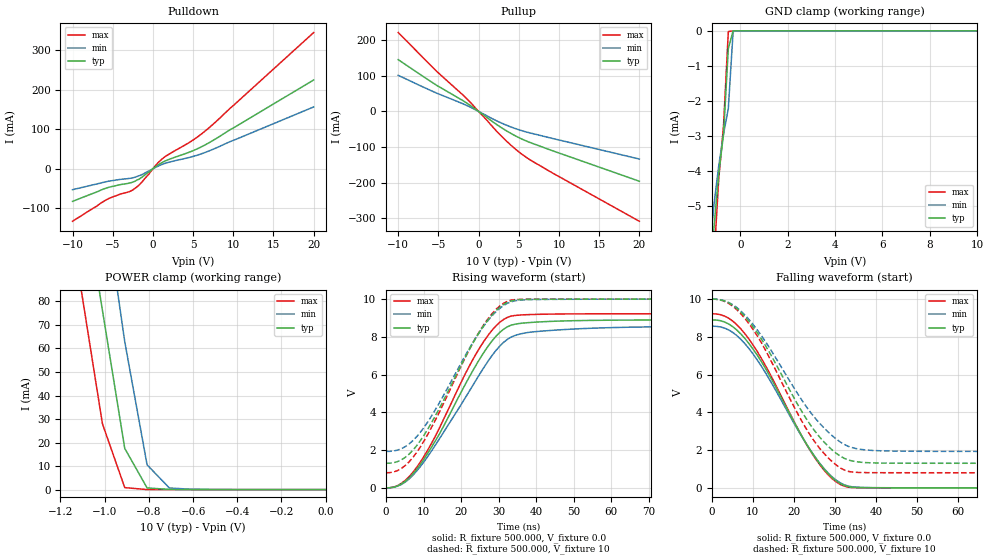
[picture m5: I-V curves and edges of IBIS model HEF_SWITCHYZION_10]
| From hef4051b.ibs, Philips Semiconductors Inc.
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|   Model HEF_SWITCHYZION_10
[Model]   HEF_SWITCHYZION_10
Model_type   I/O
Polarity   Non-Inverting
Enable   Active-High
Vinl  =  7V
Vinh  =  3V
Vmeas =  5V
Cref  =  50.0pF
Rref  =  10k
Vref  =  0.0V
C_comp   19.4E-12   17.7E-12   21.6E-12
|Ambient temperature:   25   85   -40
[Temperature Range]   35   95   -30
[Voltage Range]   10V   10V   10V
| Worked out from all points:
|   slope of the pulldown table from 0 to 1.5 V, typ, clamps not added: 77.5 ohm
|   slope of the pullup table from 0 to 1.5 V, typ, clamps not added: 60.9 ohm
|   GND clamp passes 1 mA (typ) near -0.55 V on its own axis
|   POWER clamp passes 1 mA (typ) near -0.81 V on its own axis
|   rising waveform, R_fixture 500.000, V_fixture 0.0: 20-80 % time 15ns typ, 16.4ns min, 14.2ns max; typ from 0 V to 8.9 V
|   rising waveform, R_fixture 500.000, V_fixture 10: 20-80 % time 14ns typ, 14.1ns min, 13.9ns max; typ from 1.3 V to 10 V
|   falling waveform, R_fixture 500.000, V_fixture 0.0: 20-80 % time 13.9ns typ, 14.1ns min, 13.7ns max; typ from 8.9 V to 0 V
|   falling waveform, R_fixture 500.000, V_fixture 10: 20-80 % time 14.1ns typ, 14.8ns min, 13.7ns max; typ from 10 V to 1.3 V
|Process Range   nominal   slow   fast
[Pulldown]
| voltage   I(typ)   I(min)   I(max)
-10V      -82.38mA   -52.84mA   -132.6mA
-6V       -50.11mA   -33.44mA   -80.66mA
-4.25V    -40.87mA   -27.37mA   -65.37mA
-2.75V    -35.29mA   -23.79mA   -56.09mA
-1.812V   -27.03mA   -18.11mA   -43.01mA
-500mV    -8.424mA   -5.55mA    -13.35mA
437.5mV   6.744mA    4.654mA    10.73mA
1V        14.07mA    9.777mA    22.15mA
1.75V     21.57mA    15.1mA     33.61mA
4.937V    45.15mA    30.76mA    71.68mA
6.625V    61.65mA    42.18mA    97.32mA
20V       224.2mA    156.1mA    343.9mA
[Pullup]
| voltage   I(typ)   I(min)   I(max)
-10V      145.5mA    101.5mA    221.7mA
-5.2V     73.17mA    51.33mA    112.4mA
-1.6V     25.42mA    18.13mA    38.69mA
2.667V    -42.99mA   -30.77mA   -65.35mA
5V        -73.35mA   -51.33mA   -113.4mA
6.333V    -86.61mA   -59.97mA   -134.9mA
8.833V    -107.4mA   -73.87mA   -168.2mA
20V       -196.1mA   -133.7mA   -308.7mA
[GND Clamp]
| voltage   I(typ)   I(min)   I(max)
-10V      -7.925A    -7.995A    -7.867A
-1.313V   -7.445mA   -6.467mA   -9.423mA
-1.111V   -5.621mA   -4.964mA   -6.544mA
-909.1mV  -4.084mA   -3.855mA   -4.225mA
-707.1mV  -2.941mA   -2.948mA   -2.709mA
-505.1mV  -506.4uA   -2.221mA   -21.65uA
-303mV    -453.3nA   -18.93uA   -564.1pA
-101mV    -13.21pA   -2.792nA   -167.7fA
10V       559.4fA    25.57pA    480fA
[Power Clamp]
| voltage   I(typ)   I(min)   I(max)
-10V      7.09A      7.146A     7.094A
-1.111V   135.4mA    182.9mA    87.83mA
-1.01V    76.17mA    128.9mA    27.95mA
-909.1mV  17.51mA    62.86mA    843.8uA
-808.1mV  725.5uA    10.52mA    16.08uA
-707.1mV  63.59uA    682.1uA    3.244uA
-606.1mV  26.17uA    139.8uA    11.42nA
0V        511.3fA    22.5pA     440fA
[Ramp]
| variable   typ   min   max
dV/dt_r   5.339/14.960E-09   5.136/16.382E-09   5.534/14.201E-09
dV/dt_f   5.340/13.894E-09   5.139/14.089E-09   5.534/13.743E-09
R_load = 500.000
[Rising Waveform]
R_fixture   = 500.000
V_fixture   = 0.0
V_fixture_min = 0.0
V_fixture_max = 0.0
| time   V(typ)   V(min)   V(max)
0s        10.41pV    138.4pV    5.71pV
4.04ns    203mV      177.8mV    236.3mV
8.081ns   965.2mV    879.1mV    1.069V
14.14ns   2.837V     2.582V     3.147V
24.24ns   6.6V       5.802V     7.194V
28.28ns   7.801V     7.028V     8.365V
32.32ns   8.535V     7.871V     9.033V
37.37ns   8.746V     8.219V     9.175V
50.51ns   8.859V     8.421V     9.218V
100ns     8.899V     8.56V      9.224V
[Rising Waveform]
R_fixture   = 500.000
V_fixture   = 10
V_fixture_min = 10
V_fixture_max = 10
| time   V(typ)   V(min)   V(max)
0s        1.303V     1.931V     800.5mV
4.04ns    1.483V     2.072V     1.026V
8.081ns   2.221V     2.7V       1.864V
13.13ns   3.826V     4.151V     3.599V
21.21ns   6.971V     7.055V     6.956V
24.24ns   8.05V      8.06V      8.084V
28.28ns   9.176V     9.128V     9.241V
32.32ns   9.831V     9.778V     9.888V
38.38ns   9.987V     9.975V     9.994V
100ns     10V        10V        10V
[Falling Waveform]
R_fixture   = 500.000
V_fixture   = 0.0
V_fixture_min = 0.0
V_fixture_max = 0.0
| time   V(typ)   V(min)   V(max)
0s        8.899V     8.565V     9.224V
4.04ns    8.689V     8.374V     8.996V
8.081ns   7.906V     7.631V     8.158V
13.13ns   6.305V     6.074V     6.451V
21.21ns   3.02V      2.972V     3.026V
24.24ns   1.917V     1.922V     1.88V
28.28ns   759.8mV    796.5mV    704.8mV
32.32ns   122mV      156.2mV    85.76mV
39.39ns   6.237mV    11.02mV    2.602mV
100ns     3.248uV    26.47uV    57.56nV
[Falling Waveform]
R_fixture   = 500.000
V_fixture   = 10
V_fixture_min = 10
V_fixture_max = 10
| time   V(typ)   V(min)   V(max)
0s        10V        10V        10V
4.04ns    9.809V     9.83V      9.778V
8.081ns   9.07V      9.152V     8.969V
12.12ns   7.872V     8.051V     7.667V
20.2ns    4.692V     5.23V      4.224V
24.24ns   3.263V     3.944V     2.701V
28.28ns   2.218V     2.97V      1.605V
32.32ns   1.559V     2.295V     940.3mV
41.41ns   1.314V     1.962V     802.9mV
100ns     1.303V     1.931V     800.5mV
